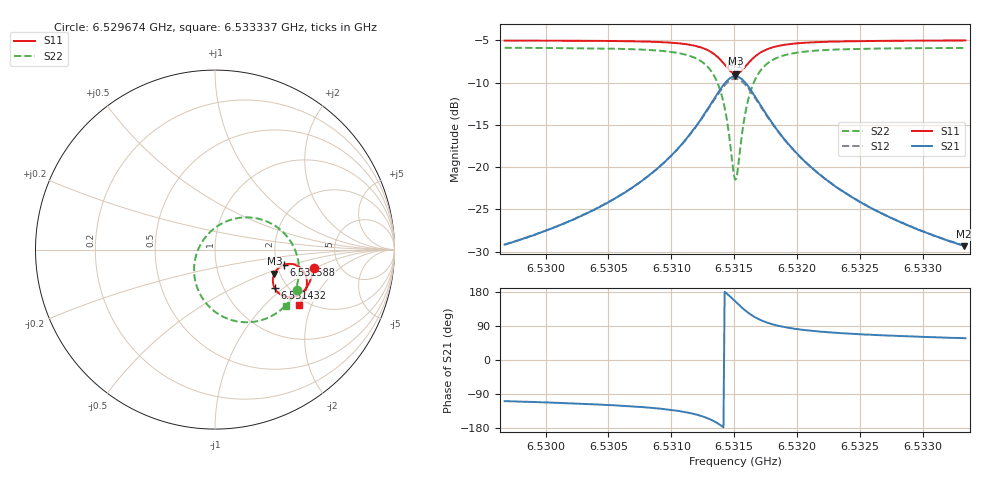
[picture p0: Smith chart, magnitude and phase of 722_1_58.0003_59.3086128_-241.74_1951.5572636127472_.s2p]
#  HZ  S  RI  R  50.00
! Rohde & Schwarz Vector Network Analyzer
! Rohde-Schwarz,ZNB20-2Port,1311601062101988,3.16
! Created: UTC 3/21/2024, 1:22:43 AM
! freq[Hz]  re:S11  im:S11  re:S21  im:S21  re:S12  im:S12  re:S22  im:S22
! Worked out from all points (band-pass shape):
!   401 points, 6.529674 GHz to 6.533337 GHz, reference 50 ohm
!   highest |S21| = -9.26 dB at 6.531506 GHz (marker M1); lowest = -29.4 dB at 6.533328 GHz (marker M2)
!   |S21| within 3 dB of the highest: 6.531325 GHz to 6.531691 GHz (365.8 kHz wide, 0.0056 % of centre)
!   lowest |S11| = -9.0 dB at 6.531515 GHz (marker M3), VSWR 2.11, Z = 93.7 - j28.7 ohm
!   |S11| at or under -10 dB: nowhere
!   |S22| runs from -21.5 to -5.9 dB; largest |S21 - S12| = 0.014
!   S11 on the Smith chart (normalised r, x): 6.529674 GHz: 3.22, -0.98; 6.531432 GHz: 1.72, -0.88; 6.531588 GHz: 2.19, -0.44; 6.533337 GHz: 1.81, -1.64
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6.5296744e9  0.5502 -0.1049  -0.0111 -0.033  -0.0118 -0.0328  0.4563 -0.2232
6.5302879e9  0.5364 -0.157  -0.0223 -0.0465  -0.0235 -0.0461  0.4194 -0.2812
6.5306084e9  0.5238 -0.1877  -0.0355 -0.0593  -0.0371 -0.0585  0.3849 -0.3198
6.5309014e9  0.5034 -0.2208  -0.0617 -0.0786  -0.0641 -0.0767  0.3258 -0.3644
6.5311211e9  0.4708 -0.2503  -0.1099 -0.0983  -0.1129 -0.0943  0.2295 -0.4
6.5312768e9  0.4197 -0.2656  -0.1893 -0.0995  -0.191 -0.0912  0.0865 -0.3909
6.5313683e9  0.3691 -0.253  -0.2669 -0.0609  -0.2639 -0.0495  -0.0394 -0.3103
6.531405e9  0.3471 -0.2353  -0.2991 -0.0243  -0.2927 -0.0128  -0.086 -0.2427
6.5314324e9  0.3331 -0.2156  -0.3179 0.0137  -0.3086 0.0241  -0.1095 -0.1761
6.5314874e9  0.3229 -0.1619  -0.324 0.1103  -0.3107 0.1152  -0.1007 -0.0169
6.5315057e9  0.3271 -0.1427  -0.3131 0.1435  -0.2995 0.1461  -0.0767 0.0352
6.5315148e9  0.3307 -0.1335  -0.3052 0.1593  -0.2918 0.1607  -0.061 0.0591
6.5315331e9  0.3406 -0.1166  -0.285 0.1877  -0.2725 0.1868  -0.0231 0.1019
6.5315881e9  0.3842 -0.0845  -0.2049 0.2403  -0.1967 0.2357  0.1174 0.1738
6.5316522e9  0.4352 -0.0814  -0.116 0.2448  -0.1122 0.2405  0.266 0.1655
6.5317437e9  0.4805 -0.1054  -0.0393 0.2076  -0.0377 0.2054  0.3893 0.0866
6.5318811e9  0.5061 -0.1454  0.00514 0.1515  0.00645 0.1507  0.4544 -0.0245
6.5321191e9  0.512 -0.1931  0.0224 0.0959  0.0235 0.0957  0.4675 -0.1373
6.5323938e9  0.5055 -0.229  0.0238 0.0652  0.0248 0.0649  0.4542 -0.2057
6.5327326e9  0.4937 -0.2621  0.0219 0.0457  0.0226 0.0454  0.4337 -0.2564
6.5333278e9  0.4693 -0.3082  0.0182 0.0288  0.019 0.0285  0.3989 -0.3133
6.5333369e9  0.469 -0.3089  0.0183 0.0288  0.0189 0.0283  0.3983 -0.314
